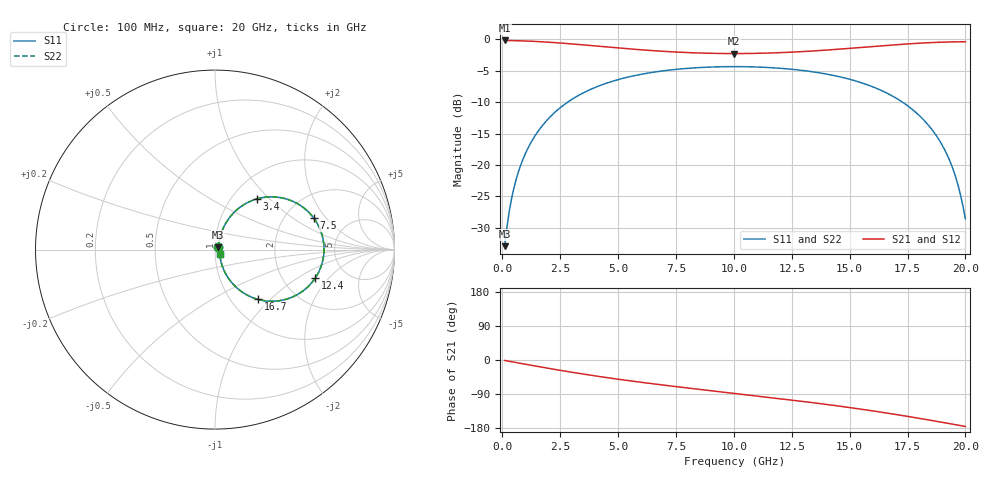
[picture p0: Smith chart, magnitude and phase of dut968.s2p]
! Touchstone file exported from HFSS 2026.1.0
!  File:  C:/ffzhzh/LocalFiles/Ansys_Project_Files/temp_train_TSV_RDL_968_1783285532_5512.aedt
!  Generated:  05:17:50 AM Jul  6, 2026
!  Design:  TSV_RDL
!  Project:  temp_train_TSV_RDL_968_1783285532_5512
! Variables:
!  h_bsmrdl = 3.38um
!  h_ox = 20um
!  h_rdl = 5um
!  h_sub = 89.72um
!  h_tmrdl = 3.83um
!  h_tsv = 89.72um
!  h_via = 3um
!  l_bsmrdl = 391um
!  l_sub = 2808.6um
!  l_tmrdl = 274.94um
!  m_sub = 200um
!  pitch = 56.56um
!  r_tsv = 2.9um
!  s_tmrdl = 10um
!  w_bsmrdl = 24.81um
!  w_sub = 500um
!  w_tmrdl = 20.47um
!  x_tsv_center1 = 285.175um
!  x_tsv_center2 = 700.985um
!  x_tsv_center3 = 996.395um
!  x_tsv_center4 = 1412.205um
!  x_tsv_center5 = 1707.615um
!  x_tsv_center6 = 2123.425um
# GHz S MA R 50.000000
! Terminal data exported
! Port[1] = TM_RDL1_1_T1
! Port[2] = TM_RDL5_1_T1
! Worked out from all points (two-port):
!   200 points, 100 MHz to 20 GHz, reference 50 ohm
!   highest |S21| = -0.16 dB at 100 MHz (marker M1); lowest = -2.3 dB at 10 GHz (marker M2)
!   |S21| within 3 dB of the highest: start of sweep to end of sweep
!   lowest |S11| = -32.9 dB at 100 MHz (marker M3), VSWR 1.05, Z = 51.9 + j1.3 ohm
!   |S11| at or under -10 dB: start of sweep to 2.821 GHz; 17.29 GHz to end of sweep
!   |S22| runs from -32.9 to -4.3 dB; largest |S21 - S12| = 4.4e-14
!   S11 on the Smith chart (normalised r, x): 100 MHz: 1.04, +0.03; 3.4 GHz: 1.30, +0.85; 7.5 GHz: 2.85, +1.51; 12.4 GHz: 3.02, -1.44; 16.7 GHz: 1.32, -0.85; 20 GHz: 1.05, -0.06
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0.1  0.02255 33.8  0.9814 -1.2  0.9814 -1.2  0.02255 33.8
! Gamma 0 0 0 0
! Port Impedance 50 0 50 0
0.3  0.04263 59.5  0.9799 -3.4  0.9799 -3.4  0.04263 59.5
0.5  0.06538 66.5  0.978 -5.7  0.978 -5.7  0.06538 66.5
0.8  0.1002 69.2  0.9746 -9.0  0.9746 -9.0  0.1002 69.2
1.1  0.135 68.8  0.9702 -12.3  0.9702 -12.3  0.135 68.8
2.1  0.2452 61.9  0.9482 -23.1  0.9482 -23.1  0.2452 61.9
3.4  0.3671 50.4  0.9081 -36.2  0.9081 -36.2  0.3671 50.4
3.5  0.3753 49.5  0.9047 -37.1  0.9047 -37.1  0.3753 49.5
5  0.4784 36.7  0.8553 -50.6  0.8553 -50.6  0.4784 36.7
6.8  0.5576 22.8  0.8072 -65.0  0.8072 -65.0  0.5576 22.8
7.5  0.5774 17.8  0.7936 -70.3  0.7936 -70.3  0.5774 17.8
10  0.6074 0.6  0.7718 -87.9  0.7718 -87.9  0.6074 0.6
10.1  0.6074 -0.0  0.7718 -88.6  0.7718 -88.6  0.6074 -0.0
12.4  0.5809 -15.7  0.7904 -105.0  0.7904 -105.0  0.5809 -15.7
13.4  0.5526 -22.9  0.8089 -112.5  0.8089 -112.5  0.5526 -22.9
15.2  0.4704 -36.7  0.8547 -127.2  0.8547 -127.2  0.4704 -36.7
16.7  0.3663 -49.2  0.899 -140.9  0.899 -140.9  0.3663 -49.2
18  0.2486 -60.1  0.9333 -153.9  0.9333 -153.9  0.2485 -60.1
18.9  0.1546 -65.9  0.95 -163.4  0.95 -163.4  0.1545 -65.9
19.5  0.08882 -65.3  0.9564 -169.9  0.9564 -169.9  0.08879 -65.3
19.8  0.05663 -58.9  0.9579 -173.2  0.9579 -173.2  0.0566 -58.9
20  0.03726 -45.4  0.9584 -175.3  0.9584 -175.3  0.03722 -45.4
